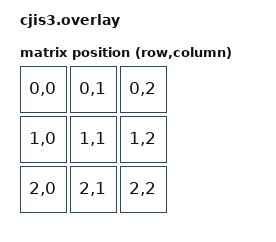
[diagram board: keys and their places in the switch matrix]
/ {
    chosen {
        zmk,kscan = &default_kscan;
        zmk,matrix_transform = &default_transform;
    };

    default_kscan: kscan {
        compatible = "zmk,kscan-gpio-matrix";
        label = default_kscan";
        diode_direction = col2row;

        row-gpios = <&pro_micro D5 (GPIO_ACTIVE_HIGH | GPIO_PULL_DOWN)>,
                    <&pro_micro D6 (GPIO_ACTIVE_HIGH | GPIO_PULL_DOWN)>,
                    <&pro_micro D7 (GPIO_ACTIVE_HIGH | GPIO_PULL_DOWN)>,

        col-gpios = <&pro_micro D2 GPIO_ACTIVE_HIGH>,
                    <&pro_micro D3 GPIO_ACTIVE_HIGH>,
                    <&pro_micro D3 GPIO_ACTIVE_HIGH>, 
    };

    default_transform: matrix_transform {
        compatible = "zmk,matrix_transform";
        rows = <3>;
        columns = <3>;

        map = <
            RC(0,0) RC(0,1) RC(0,2)
            RC(1,0) RC(1,1) RC(1,2)
            RC(2,0) RC(2,1) RC(2,2)
        >;
    };
};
